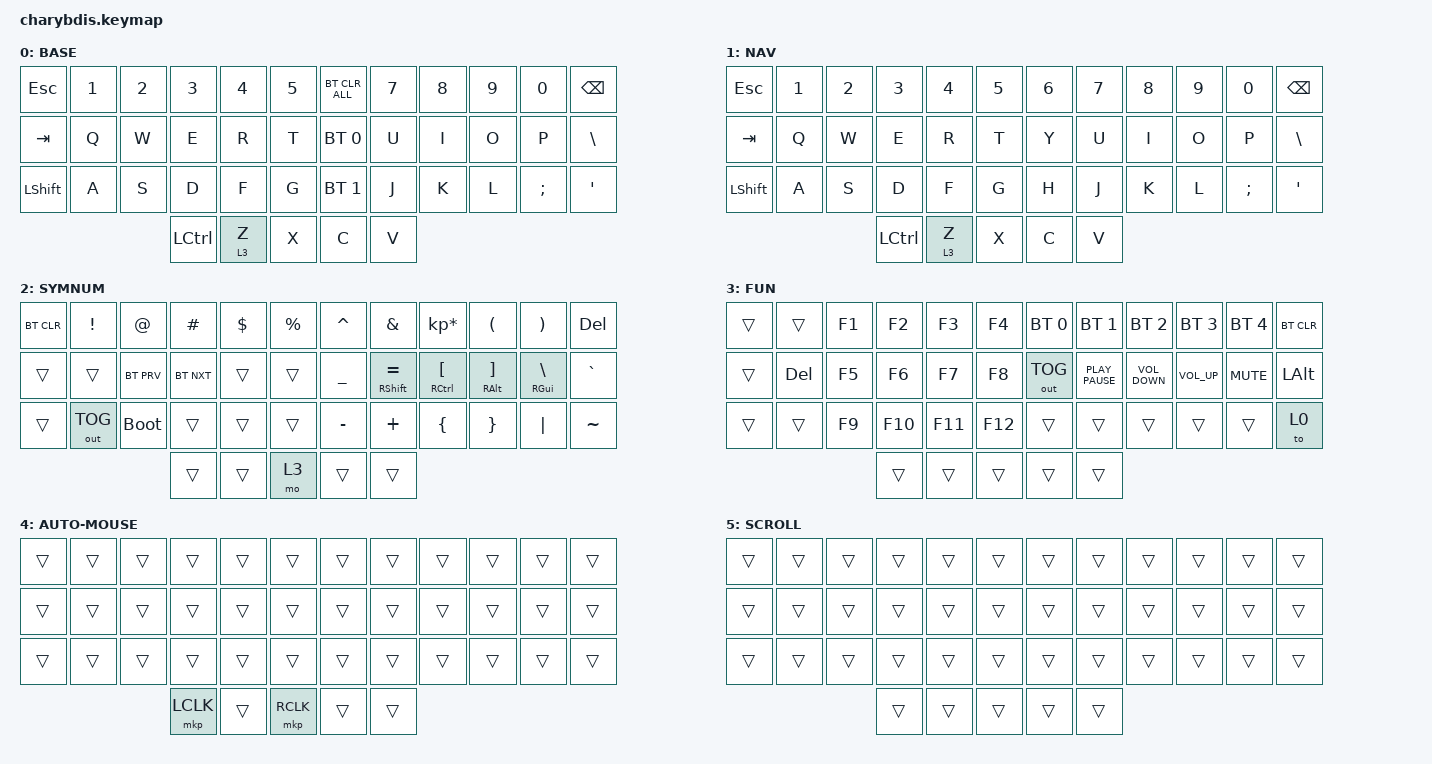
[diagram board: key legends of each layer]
#include <behaviors/mouse_keys.dtsi>
#include <behaviors.dtsi>
#include <dt-bindings/zmk/bt.h>
#include <dt-bindings/zmk/keys.h>
#include <dt-bindings/zmk/mouse.h>
#include <dt-bindings/zmk/outputs.h>

#define U_TAPPING_TERM 200

/ {
    chosen {
        zmk,matrix_transform = &default_transform;
        zmk,underglow = &led_strip;
    };
};

/ {
    combos {
        compatible = "zmk,combos";

        LeftClickRight {
            bindings = <&mkp LCLK>;
            key-positions = <19 20>;
        };

        RightClickRight {
            bindings = <&mkp RCLK>;
            key-positions = <20 21>;
        };

        MiddleClickRight {
            bindings = <&mkp MCLK>;
            key-positions = <21 22>;
        };

        ParaLeft {
            bindings = <&kp LEFT_PARENTHESIS>;
            key-positions = <4 16>;
        };

        ParaRight {
            bindings = <&kp RIGHT_PARENTHESIS>;
            key-positions = <7 19>;
        };

        BrakLeft {
            bindings = <&kp LEFT_BRACKET>;
            key-positions = <3 15>;
        };

        BrakRight {
            bindings = <&kp RIGHT_BRACKET>;
            key-positions = <8 20>;
        };

        BraceLeft {
            bindings = <&kp LEFT_BRACE>;
            key-positions = <2 14>;
        };

        BraceRight {
            bindings = <&kp RIGHT_BRACE>;
            key-positions = <9 21>;
        };

        Delete {
            bindings = <&kp DELETE>;
            key-positions = <8 9>;
        };

        CapsWord {
            bindings = <&caps_word>;
            key-positions = <17 18>;
        };
    };

    behaviors {
        u_mt: u_mt {
            compatible = "zmk,behavior-hold-tap";
            label = "u_mt";
            #binding-cells = <2>;
            tapping_term_ms = <U_TAPPING_TERM>;
            flavor = "tap-preferred";
            bindings = <&kp>, <&kp>;
        };

        u_lt: u_lt {
            compatible = "zmk,behavior-hold-tap";
            label = "u_lt";
            #binding-cells = <2>;
            tapping_term_ms = <U_TAPPING_TERM>;
            flavor = "tap-preferred";
            bindings = <&mo>, <&kp>;
        };

        Shift_Enter: Shift_Enter {
            compatible = "zmk,behavior-hold-tap";
            label = "SHIFT_ENTER";
            bindings = <&kp>, <&kp>;

            #binding-cells = <2>;
            hold-trigger-key-positions = <40>;
            tapping-term-ms = <100>;
        };
    };

    keymap {
        compatible = "zmk,keymap";

        BASE {
            bindings = <
&kp ESC         &kp N1  &kp N2  &kp N3     &kp N4   &kp N5    &bt BT_CLR_ALL  &kp N7  &kp N8  &kp N9  &kp N0    &kp BSPC
&kp TAB         &kp Q   &kp W   &kp E      &kp R    &kp T     &bt BT_SEL 0    &kp U   &kp I   &kp O   &kp P     &kp BACKSLASH
&kp LEFT_SHIFT  &kp A   &kp S   &kp D      &kp F    &kp G     &bt BT_SEL 1    &kp J   &kp K   &kp L   &kp SEMI  &kp APOS
                                &kp LCTRL  &lt 3 Z  &kp X     &kp C           &kp V
            >;
        };

        NAV {
            bindings = <
&kp ESC         &kp N1  &kp N2  &kp N3     &kp N4   &kp N5    &kp N6  &kp N7  &kp N8  &kp N9  &kp N0    &kp BSPC
&kp TAB         &kp Q   &kp W   &kp E      &kp R    &kp T     &kp Y   &kp U   &kp I   &kp O   &kp P     &kp BACKSLASH
&kp LEFT_SHIFT  &kp A   &kp S   &kp D      &kp F    &kp G     &kp H   &kp J   &kp K   &kp L   &kp SEMI  &kp APOS
                                &kp LCTRL  &lt 3 Z  &kp X     &kp C   &kp V
            >;
        };

        SYMNUM {
            bindings = <
&bt BT_CLR  &kp EXCL      &kp AT       &kp HASH    &kp DLLR  &kp PRCNT    &kp CARET  &kp AMPS                 &kp KP_MULTIPLY   &kp LPAR              &kp RPAR              &kp DEL
&trans      &trans        &bt BT_PRV   &bt BT_NXT  &trans    &trans       &kp UNDER  &u_mt RIGHT_SHIFT EQUAL  &u_mt RCTRL LBKT  &u_mt RIGHT_ALT RBKT  &u_mt RIGHT_GUI BSLH  &kp GRAVE
&trans      &out OUT_TOG  &bootloader  &trans      &trans    &trans       &kp MINUS  &kp PLUS                 &kp LBRC          &kp RBRC              &kp PIPE              &kp TILDE
                                       &trans      &trans    &mo 3        &trans     &trans
            >;
        };

        FUN {
            bindings = <
&trans  &trans   &kp F1  &kp F2   &kp F3   &kp F4     &bt BT_SEL 0  &bt BT_SEL 1      &bt BT_SEL 2       &bt BT_SEL 3     &bt BT_SEL 4  &bt BT_CLR
&trans  &kp DEL  &kp F5  &kp F6   &kp F7   &kp F8     &out OUT_TOG  &kp K_PLAY_PAUSE  &kp C_VOLUME_DOWN  &kp C_VOLUME_UP  &kp C_MUTE    &kp LALT
&trans  &trans   &kp F9  &kp F10  &kp F11  &kp F12    &trans        &trans            &trans             &trans           &trans        &to 0
                         &trans   &trans   &trans     &trans        &trans
            >;
        };

        AUTO-MOUSE {
            bindings = <
&trans  &trans  &trans  &trans     &trans  &trans       &trans  &trans  &trans  &trans  &trans  &trans
&trans  &trans  &trans  &trans     &trans  &trans       &trans  &trans  &trans  &trans  &trans  &trans
&trans  &trans  &trans  &trans     &trans  &trans       &trans  &trans  &trans  &trans  &trans  &trans
                        &mkp LCLK  &trans  &mkp RCLK    &trans  &trans
            >;
        };

        SCROLL {
            bindings = <
&trans  &trans  &trans  &trans  &trans  &trans    &trans  &trans  &trans  &trans  &trans  &trans
&trans  &trans  &trans  &trans  &trans  &trans    &trans  &trans  &trans  &trans  &trans  &trans
&trans  &trans  &trans  &trans  &trans  &trans    &trans  &trans  &trans  &trans  &trans  &trans
                        &trans  &trans  &trans    &trans  &trans
            >;
        };
    };
};
